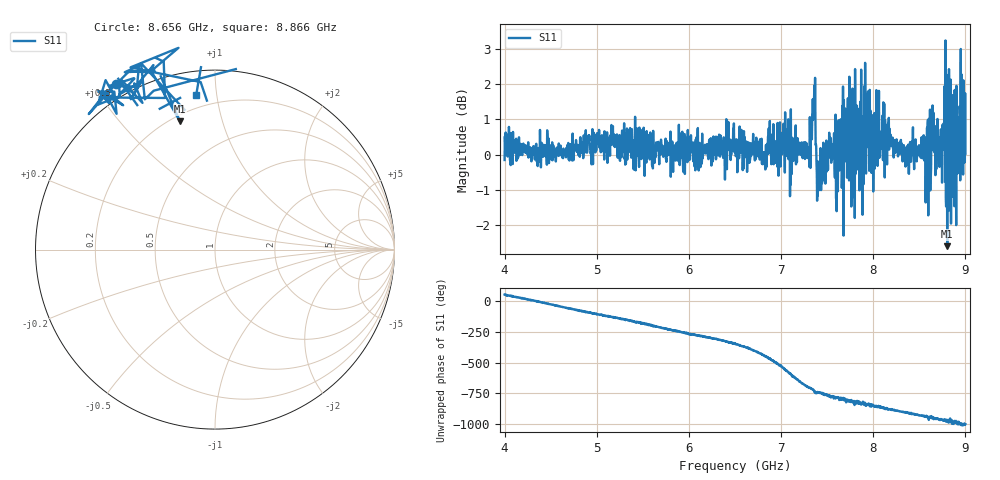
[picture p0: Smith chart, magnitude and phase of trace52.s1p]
! Created with skrf 1.8.0 (http://scikit-rf.org).
# Hz S RI R 50.0
!freq ReS11 ImS11
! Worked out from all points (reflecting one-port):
!   1601 points, 4 GHz to 9 GHz, reference 50 ohm
!   lowest |S11| = -2.6 dB at 8.803 GHz (marker M1), VSWR 6.69, Z = 11.7 + j36.8 ohm
!   phase of S11 starts at 51 deg and turns -1050 deg over the sweep
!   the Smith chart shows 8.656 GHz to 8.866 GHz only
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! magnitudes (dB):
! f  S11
! 4 GHz  -0.2
! 4.625 GHz  -0.1
! 5.25 GHz  -0.2
! 5.875 GHz  0.1
! 6.5 GHz  0.1
! 7.125 GHz  0.5
! 7.294 GHz  -0.1
! 7.347 GHz  1.0
! 7.409 GHz  -1.0
! 7.538 GHz  0.5
! 7.619 GHz  0.6
! 7.647 GHz  1.0
! 7.716 GHz  -0.7
! 7.75 GHz  -0.5
! 7.775 GHz  1.9
! 7.844 GHz  1.0
! 7.909 GHz  0.2
! 7.928 GHz  0.4
! 7.981 GHz  -0.5
! 8.097 GHz  0.5
! 8.375 GHz  -0.2
! 8.581 GHz  0.1
! 8.656 GHz  0.6
! 8.7 GHz  0.3
! 8.803 GHz  -2.6
! 8.875 GHz  0.2
! 8.959 GHz  2.3
! 9 GHz  0.0
